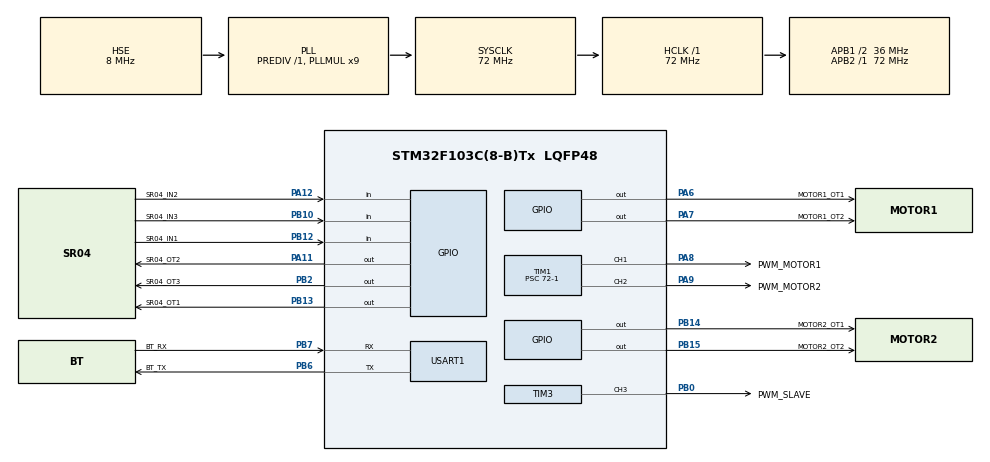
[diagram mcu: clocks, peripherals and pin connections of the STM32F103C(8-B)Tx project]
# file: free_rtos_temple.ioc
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FREERTOS.Tasks01=defaultTask,24,128,StartDefaultTask,Default,NULL,Dynamic,NULL,NULL
Mcu.Family=STM32F1
Mcu.Name=STM32F103C(8-B)Tx
Mcu.Package=LQFP48
NVIC.PriorityGroup=NVIC_PRIORITYGROUP_4
NVIC.USART1_IRQn=true\:5\:0\:false\:false\:true\:true\:true\:true\:true
PA11.GPIO_Label=SR04_OT2
PA11.Signal=GPIO_Output
PA12.GPIO_Label=SR04_IN2
PA12.Signal=GPIO_Input
PA13.Mode=Serial_Wire
PA13.Signal=SYS_JTMS-SWDIO
PA14.Mode=Serial_Wire
PA14.Signal=SYS_JTCK-SWCLK
PA6.GPIO_Label=MOTOR1_OT1
PA6.Signal=GPIO_Output
PA7.GPIO_Label=MOTOR1_OT2
PA7.Signal=GPIO_Output
PA8.GPIO_Label=PWM_MOTOR1
PA8.Signal=S_TIM1_CH1
PA9.GPIO_Label=PWM_MOTOR2
PA9.Signal=S_TIM1_CH2
PB0.GPIO_Label=PWM_SLAVE
PB0.Signal=S_TIM3_CH3
PB10.GPIO_Label=SR04_IN3
PB10.Signal=GPIO_Input
PB12.GPIO_Label=SR04_IN1
PB12.Signal=GPIO_Input
PB13.GPIO_Label=SR04_OT1
PB13.Signal=GPIO_Output
PB14.GPIO_Label=MOTOR2_OT1
PB14.Signal=GPIO_Output
PB15.GPIO_Label=MOTOR2_OT2
PB15.Signal=GPIO_Output
PB2.GPIO_Label=SR04_OT3
PB2.Signal=GPIO_Output
PB6.GPIO_Label=BT_TX
PB6.Mode=Asynchronous
PB6.Signal=USART1_TX
PB7.GPIO_Label=BT_RX
PB7.Mode=Asynchronous
PB7.Signal=USART1_RX
PD0-OSC_IN.Mode=HSE-External-Oscillator
PD0-OSC_IN.Signal=RCC_OSC_IN
PD1-OSC_OUT.Mode=HSE-External-Oscillator
PD1-OSC_OUT.Signal=RCC_OSC_OUT
ProjectManager.HeapSize=0x200
ProjectManager.StackSize=0x400
ProjectManager.TargetToolchain=CMake
RCC.AHBFreq_Value=72000000
RCC.APB1CLKDivider=RCC_HCLK_DIV2
RCC.APB1Freq_Value=36000000
RCC.APB1TimFreq_Value=72000000
RCC.APB2Freq_Value=72000000
RCC.APB2TimFreq_Value=72000000
RCC.HCLKFreq_Value=72000000
RCC.PLLMUL=RCC_PLL_MUL9
RCC.PLLSourceVirtual=RCC_PLLSOURCE_HSE
RCC.SYSCLKFreq_VALUE=72000000
RCC.SYSCLKSource=RCC_SYSCLKSOURCE_PLLCLK
RCC.USBFreq_Value=72000000
SH.S_TIM1_CH1.0=TIM1_CH1,PWM Generation1 CH1
SH.S_TIM1_CH2.0=TIM1_CH2,PWM Generation2 CH2
SH.S_TIM3_CH3.0=TIM3_CH3,PWM Generation3 CH3
TIM1.Channel-PWM\ Generation1\ CH1=TIM_CHANNEL_1
TIM1.Channel-PWM\ Generation2\ CH2=TIM_CHANNEL_2
TIM1.Prescaler=72-1
TIM3.Channel-PWM\ Generation3\ CH3=TIM_CHANNEL_3
TIM3.Prescaler=720-1
USART1.VirtualMode=VM_ASYNC
VP_FREERTOS_VS_CMSIS_V2.Mode=CMSIS_V2
VP_TIM1_VS_ClockSourceINT.Mode=Internal
VP_TIM3_VS_ClockSourceINT.Mode=Internal
board=custom

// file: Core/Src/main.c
/* USER CODE BEGIN Header */
/**
  ******************************************************************************
  * @file           : main.c
  * @brief          : Main program body
  ******************************************************************************
  * @attention
  *
  * Copyright (c) 2025 STMicroelectronics.
  * All rights reserved.
  *
  * This software is licensed under terms that can be found in the LICENSE file
  * in the root directory of this software component.
  * If no LICENSE file comes with this software, it is provided AS-IS.
  *
  ******************************************************************************
  */
/* USER CODE END Header */
#include "main.h"
#include "cmsis_os.h"
#include "tim.h"
#include "usart.h"
#include "gpio.h"

void SystemClock_Config(void);
void MX_FREERTOS_Init(void);

int main(void)
{

  /* MCU Configuration--------------------------------------------------------*/

  /* Reset of all peripherals, Initializes the Flash interface and the Systick. */
  HAL_Init();

  /* Configure the system clock */
  SystemClock_Config();

  /* Initialize all configured peripherals */
  MX_GPIO_Init();
  MX_TIM1_Init();
  MX_TIM3_Init();
  MX_USART1_UART_Init();

  /* Init scheduler */
  osKernelInitialize();

  /* Call init function for freertos objects (in cmsis_os2.c) */
  MX_FREERTOS_Init();

  /* Start scheduler */
  osKernelStart();

  /* We should never get here as control is now taken by the scheduler */

  /* Infinite loop */
  while (1)
  {

  }
}

void SystemClock_Config(void)
{
  RCC_OscInitTypeDef RCC_OscInitStruct = {0};
  RCC_ClkInitTypeDef RCC_ClkInitStruct = {0};

  /** Initializes the RCC Oscillators according to the specified parameters
  * in the RCC_OscInitTypeDef structure.
  */
  RCC_OscInitStruct.OscillatorType = RCC_OSCILLATORTYPE_HSE;
  RCC_OscInitStruct.HSEState = RCC_HSE_ON;
  RCC_OscInitStruct.HSEPredivValue = RCC_HSE_PREDIV_DIV1;
  RCC_OscInitStruct.HSIState = RCC_HSI_ON;
  RCC_OscInitStruct.PLL.PLLState = RCC_PLL_ON;
  RCC_OscInitStruct.PLL.PLLSource = RCC_PLLSOURCE_HSE;
  RCC_OscInitStruct.PLL.PLLMUL = RCC_PLL_MUL9;
  if (HAL_RCC_OscConfig(&RCC_OscInitStruct) != HAL_OK)
  {
    Error_Handler();
  }

  /** Initializes the CPU, AHB and APB buses clocks
  */
  RCC_ClkInitStruct.ClockType = RCC_CLOCKTYPE_HCLK|RCC_CLOCKTYPE_SYSCLK
                              |RCC_CLOCKTYPE_PCLK1|RCC_CLOCKTYPE_PCLK2;
  RCC_ClkInitStruct.SYSCLKSource = RCC_SYSCLKSOURCE_PLLCLK;
  RCC_ClkInitStruct.AHBCLKDivider = RCC_SYSCLK_DIV1;
  RCC_ClkInitStruct.APB1CLKDivider = RCC_HCLK_DIV2;
  RCC_ClkInitStruct.APB2CLKDivider = RCC_HCLK_DIV1;

  if (HAL_RCC_ClockConfig(&RCC_ClkInitStruct, FLASH_LATENCY_2) != HAL_OK)
  {
    Error_Handler();
  }
}

void Error_Handler(void)
{
  __disable_irq();
  while (1)
  {
  }
}

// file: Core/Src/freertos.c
/* USER CODE BEGIN Header */
/**
  ******************************************************************************
  * File Name          : freertos.c
  * Description        : Code for freertos applications
  ******************************************************************************
  * @attention
  *
  * Copyright (c) 2025 STMicroelectronics.
  * All rights reserved.
  *
  * This software is licensed under terms that can be found in the LICENSE file
  * in the root directory of this software component.
  * If no LICENSE file comes with this software, it is provided AS-IS.
  *
  ******************************************************************************
  */
/* USER CODE END Header */

#include "FreeRTOS.h"
#include "task.h"
#include "main.h"
#include "cmsis_os.h"

/* USER CODE BEGIN Includes */
#include "drv8833.h"
#include "queue.h"
#include "semphr.h"
#include "tim.h"
#include "task.h"
#include "sr04.h"
#include "usart.h"
#include <stdint.h>
#include <stdlib.h>
#include "Motor.h"
/* USER CODE END Includes */

/* USER CODE BEGIN PD */
// #define MOTOR_BRAKE 'b'
// #define MOTOR_FORWARD 'f'
// #define MOTOR_BACKWARD 'g'
// #define MOTOR_COAST 'c'

#define MAX_PWM_VALUE 10000  // 最大 PWM 占空比对应的值
#define SERVO_MAXANGLE 90
#define SERVO_MINANGLE 0

#define QUEUE_LENGTH 10
#define ITEM_SIZE sizeof( uint8_t )*2

struct Motor_Struct{
  GPIO_TypeDef* Motor_GPIO_Port;
  uint16_t Motor_GPIO_Pin;
  TIM_HandleTypeDef* htim;
};

typedef struct {
    int16_t speed;  // -1000 到 +1000
    int16_t turn;   // -1000 到 +1000
    uint8_t func_flags;
} CarControl_t;

#define RING_BUFFER_SIZE 64
//const uint16_t RING_BUFFER_SIZE = 64;
// 帧定义，方便解析
#define FRAME_SIZE 8
#define HEADER_BYTE 0x5A
#define TAIL_BYTE   0xA5

/* USER CODE END PD */

/* USER CODE BEGIN Variables */
static StackType_t Motor_TaskStack[128];
static StaticTask_t Motor_TaskTCB;
static TaskHandle_t Motor_TaskHandle;

static StackType_t BLE_Parser_TaskStack[128];
static StaticTask_t BLE_Parser_TaskTCB;
TaskHandle_t BLE_Parser_TaskHandle;
//static TaskHandle_t BLE_Parser_TaskHandle;

// static StackType_t Slave_TaskStack[128];
// static StaticTask_t Slave_TaskTCB;
// static TaskHandle_t Slave_TaskHandle;

static StackType_t SR04_TaskStack[128];
static StaticTask_t SR04_TaskTCB;
static TaskHandle_t SR04_TaskHandle;

//static uint8_t UartRecevieData[2];
//static char motorState = MOTOR_BRAKE;
static uint8_t speed = 0;
static uint8_t servoAngle = 45;
static uint8_t duty = 0;

static StaticQueue_t xStaticQueue;
static uint8_t MotorCmdQueueStorageArea[QUEUE_LENGTH*ITEM_SIZE];
QueueHandle_t MotorCmdQueue;

SemaphoreHandle_t motorMux_Handle;

// 实际用于 DMA 接收的数组
uint8_t RxRingBuffer[RING_BUFFER_SIZE];

// 读写指针
// ReadPtr: 下一次 FreeRTOS 任务应该从哪里开始读取数据（消费者）
volatile uint16_t RxReadPtr = 0;

// DMA 是写指针的生产者，它的位置由硬件寄存器决定，
// 通常不需要显式定义 WritePtr 变量，而是通过查询 DMA 计数器获得。

/* USER CODE END Variables */
/* Definitions for defaultTask */
osThreadId_t defaultTaskHandle;
const osThreadAttr_t defaultTask_attributes = {
  .name = "defaultTask",
  .stack_size = 128 * 4,
  .priority = (osPriority_t) osPriorityNormal,
};

/* USER CODE BEGIN FunctionPrototypes */
void MotorTask(void *pvParameters);
void BLEParserTask(void *pvParameters);
void SlaveControl(void *pvParameters);
void SR04Play(void *pvParameters);
//void SetMotorPWM(float pwm_left, float pwm_right);

/* USER CODE END FunctionPrototypes */

void StartDefaultTask(void *argument);

void MX_FREERTOS_Init(void); /* (MISRA C 2004 rule 8.1) */

void MX_FREERTOS_Init(void) {
  /* USER CODE BEGIN Init */
  DRV8833_Init();
  HAL_TIM_PWM_Start(&htim3, TIM_CHANNEL_3);

  // 启动 DMA 循环接收
  // DMA 会从 huart1 持续接收数据到 RxRingBuffer，直到 512 字节满后自动回到起点
  HAL_UART_Receive_DMA(&huart1, RxRingBuffer, RING_BUFFER_SIZE);

  // 启用 UART 空闲中断 (必须启用)
  __HAL_UART_ENABLE_IT(&huart1, UART_IT_IDLE);
  /* USER CODE END Init */

  /* USER CODE BEGIN RTOS_MUTEX */
  /* add mutexes, ... */
  motorMux_Handle = xSemaphoreCreateMutex();
  /* USER CODE END RTOS_MUTEX */

  /* USER CODE BEGIN RTOS_QUEUES */
  /* add queues, ... */
  MotorCmdQueue = xQueueCreateStatic(QUEUE_LENGTH,ITEM_SIZE,MotorCmdQueueStorageArea,&xStaticQueue);
  /* USER CODE END RTOS_QUEUES */

  /* Create the thread(s) */
  /* creation of defaultTask */
  defaultTaskHandle = osThreadNew(StartDefaultTask, NULL, &defaultTask_attributes);

  /* USER CODE BEGIN RTOS_THREADS */
  /* add threads, ... */

  /*创建任务电机运行*/
  Motor_TaskHandle = xTaskCreateStatic(MotorTask,"MotorTaskTask",128,NULL,osPriorityNormal,Motor_TaskStack,&Motor_TaskTCB);
  /*创建任务蓝牙控制*/
  BLE_Parser_TaskHandle = xTaskCreateStatic(BLEParserTask,"BLEParserTask",128,NULL,osPriorityNormal2,BLE_Parser_TaskStack,&BLE_Parser_TaskTCB);
  // /*创建任务舵机方向控制*/
  // Slave_TaskHandle = xTaskCreateStatic(SlaveControl,"SlaveControlTask",128,NULL,osPriorityNormal1,Slave_TaskStack,&Slave_TaskTCB);
  /*创建任务超声波避障*/
  SR04_TaskHandle = xTaskCreateStatic(SR04Play,"SR04PlayTask",128,NULL,osPriorityNormal2,SR04_TaskStack,&SR04_TaskTCB);
  /* USER CODE END RTOS_THREADS */

}

void StartDefaultTask(void *argument)
{
  for(;;)
  {
    osDelay(1);
  }
}

/* USER CODE BEGIN Application */

uint16_t GetAvailableDataLength(void){
  //保存当前写指针位置
  extern uint16_t RxWritePtr;
  //关闭中断，防止读写指针变化
  __disable_irq();
  uint16_t temp_WritePtr = RxWritePtr;
  __enable_irq();
  if (temp_WritePtr >= RxReadPtr)
  {
    //正常情况，写指针在读指针之后
    return temp_WritePtr - RxReadPtr;
  }
  else
  {
    //写指针越界回到起点
    return RING_BUFFER_SIZE - (RxReadPtr - temp_WritePtr);
  }

}

void BLEParserTask(void *pvParameters)
{
  CarControl_t cmd;

  while(1){
    //等待IDLE中断通知，永久阻塞
    ulTaskNotifyTake(pdTRUE, portMAX_DELAY);

    while (GetAvailableDataLength() >= FRAME_SIZE)
    {
      // 检查帧头
      while(RxRingBuffer[RxReadPtr] != HEADER_BYTE && GetAvailableDataLength() >= FRAME_SIZE)
      {
        // 丢弃无效数据
        RxReadPtr = (RxReadPtr + 1) % RING_BUFFER_SIZE;
      }

      //提取和校验一帧数据
      uint8_t buffer[FRAME_SIZE];
      for (int i = 0; i < FRAME_SIZE; i++)
      {
        buffer[i] = RxRingBuffer[(RxReadPtr + i) % RING_BUFFER_SIZE];
      }
      if (buffer[FRAME_SIZE - 1] != TAIL_BYTE)
      {
        // 帧尾错误，丢弃帧头，继续寻找下一帧
        RxReadPtr = (RxReadPtr + 1) % RING_BUFFER_SIZE;
        continue;

      }

      //检查校验和
      uint8_t checksum = 0;
      for (int i = 1; i <= 5; i++) {
        checksum += buffer[i];
      }
      if (checksum != buffer[6]) {
        // 校验和错误，丢弃帧头，继续寻找下一帧
        RxReadPtr = (RxReadPtr + 1) % RING_BUFFER_SIZE;
        continue;
      }

      // 解析有效帧
      cmd.speed = (int16_t)(buffer[1] | (buffer[2]) << 8);
      cmd.turn = (int16_t)(buffer[3] | (buffer[4]) << 8);
      cmd.func_flags = buffer[5];

      // 更新队列，跳过已处理的数据
      xQueueOverwrite(MotorCmdQueue, &cmd);
      RxReadPtr = (RxReadPtr + FRAME_SIZE) % RING_BUFFER_SIZE;
    }
  }

}

void MotorTask(void *pvParameters)
{
  CarControl_t target;    // 目标值
  float current_spd = 0;  // 当前平滑后的速度
  float current_turn = 0; // 当前平滑后的转向

  // 平滑系数 (值越小，惯性越大)
  // 0.1 表示每次循环只向目标值靠近 10%
  const float SMOOTH_FACTOR_ACC = 0.15f; // 加速平滑
  const float SMOOTH_FACTOR_DEC = 0.30f; // 减速/刹车要快一点

  const float PWM_SCALE = (float)MAX_PWM_VALUE / 1000.0f;

  while (1) {
    // 1. 取出最新指令 (如果没有新指令，保持 target 不变，或者加超时归零逻辑)
    if (xQueuePeek(MotorCmdQueue, &target, 0) == pdTRUE) {
      // 2. 速度平滑处理 (低通滤波算法)
      if (abs(target.speed) > abs(current_spd))
        // 正在加速
        current_spd += (target.speed - current_spd) * SMOOTH_FACTOR_ACC;
      else
        // 正在减速/松开摇杆
        current_spd += (target.speed - current_spd) * SMOOTH_FACTOR_DEC;

      // 转向通常不需要太大的延迟，直接赋值或给很大系数
      current_turn = target.turn;

      // 3. 差速混合算法 (Mixing)
      // 左轮 = 前进 + 转向
      // 右轮 = 前进 - 转向
      float motor_l_float  = current_spd + current_turn;
      float motor_r_float = current_spd - current_turn;

      int16_t pwm_l = (int16_t)(motor_l_float * PWM_SCALE);
      int16_t pwm_r = (int16_t)(motor_r_float * PWM_SCALE);

      // 限幅保护 (防止超过 PWM 最大值)
      if (pwm_l > MAX_PWM_VALUE)
        pwm_l = MAX_PWM_VALUE;
      else if (pwm_l < -MAX_PWM_VALUE)
        pwm_l = -MAX_PWM_VALUE;
      if (pwm_r > MAX_PWM_VALUE)
        pwm_r = MAX_PWM_VALUE;
      else if (pwm_r < -MAX_PWM_VALUE)
        pwm_r = -MAX_PWM_VALUE;

      // 4. 调用上一条回答中的驱动函数
      // 注意：这里需要把 +/-100 的范围映射到 PWM (例如 +/- 1000)
      SetMotor(motor_l_float * 10, motor_r_float * 10);
      //SetMotorPWM(motor_l_float, motor_r_float);
    } else {
      // (可选) 增加看门狗逻辑：如果队列 500ms 没刷新，强制停车
    }

    // 5. 严格控制控制频率 50Hz
    vTaskDelay(20);
  }
}

void SR04Play(void *pvParameters)
{

  if(sr04_read() > 25)//前方无障碍物
  {
    DRV8833_Forward(speed);//前运动
    HAL_Delay(100);
  }
  else{	//前方有障碍物
    //右边运动 原地
    if (servoAngle <=75)
    {
      servoAngle = servoAngle + 15;
      duty =  (10* servoAngle/(float)SERVO_MAXANGLE +2.5)/100 *2000;
      __HAL_TIM_SET_COMPARE(&htim3, TIM_CHANNEL_3, duty);
    }
    HAL_Delay(500);
    if(sr04_read() > 25)//右边无障碍物
    {
      DRV8833_Forward(speed);//前运动
      HAL_Delay(100);
    }
    else{//右边有障碍物
      //左边运动 原地
      if (servoAngle >=15)
      {
        servoAngle = servoAngle - 15;
        duty =  (10* servoAngle/(float)SERVO_MAXANGLE +2.5)/100 *2000;
        __HAL_TIM_SET_COMPARE(&htim3, TIM_CHANNEL_3, duty);
      }
      HAL_Delay(1000);
      if(sr04_read() >25)//左边无障碍物
      {
        DRV8833_Forward(speed);//前运动
        HAL_Delay(100);
      }
      else{
        DRV8833_Brake();
        DRV8833_Backward(speed);//后运动
        HAL_Delay(1000);
        //右边运动
        if (servoAngle <=75)
        {
          servoAngle = servoAngle + 15;
          duty =  (10* servoAngle/(float)SERVO_MAXANGLE +2.5)/100 *2000;
          __HAL_TIM_SET_COMPARE(&htim3, TIM_CHANNEL_3, duty);
        }
        HAL_Delay(50);
      }
    }
  }

}

// void HAL_UART_RxCpltCallback(UART_HandleTypeDef *huart)
// {
//   if(huart->Instance != USART1)
//     return;
//   uint8_t UartRecevieData[2] = {0};
//   HAL_UART_Receive_IT(huart,UartRecevieData,2);
//   xQueueSendToBackFromISR(MotorCmdQueue,&UartRecevieData,(BaseType_t*)pdTRUE);
//   xTaskNotifyGive(BLE_Parser_TaskHandle);
// }
/* USER CODE END Application */
